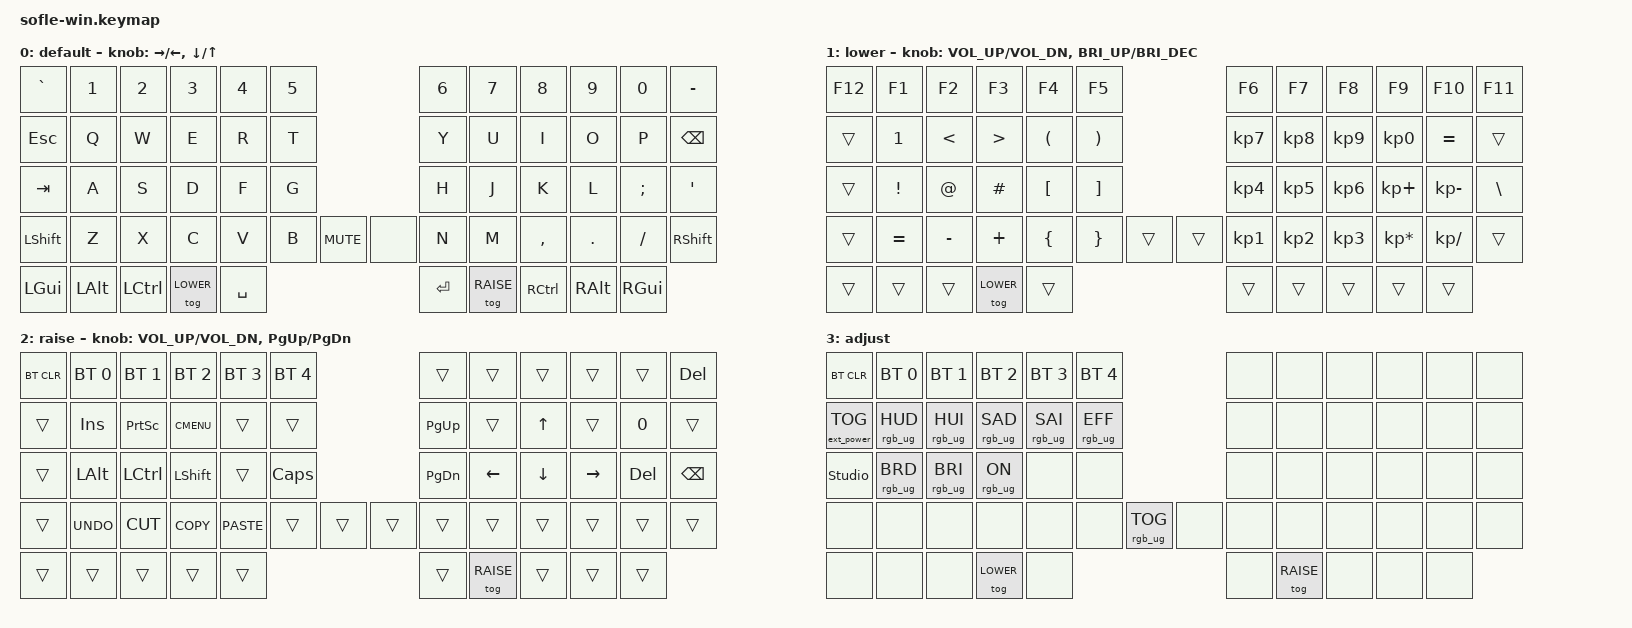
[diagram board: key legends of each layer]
/*
* Copyright (c) 2020 The ZMK Contributors
*
* SPDX-License-Identifier: MIT
*/

#include <behaviors.dtsi>
#include <dt-bindings/zmk/keys.h>
#include <dt-bindings/zmk/bt.h>
#include <dt-bindings/zmk/rgb.h>
#include <dt-bindings/zmk/ext_power.h>
#include <dt-bindings/led/led.h>

&pinctrl {
	spi3_default: spi3_default {
		group1 {
			psels = <NRF_PSEL(SPIM_MOSI, 0, 22)>; /* <<<--- different pin here */
		};
	};
	
	spi3_sleep: spi3_sleep {
		group1 {
			psels = <NRF_PSEL(SPIM_MOSI, 0, 22)>; /* <<<--- different pin here */
			low-power-enable;
		};
	};
};

&spi3 {
	compatible = "nordic,nrf-spim";
	status = "okay";
	
	pinctrl-0 = <&spi3_default>;
	pinctrl-1 = <&spi3_sleep>;
	pinctrl-names = "default", "sleep";
	
	led_strip: ws2812@0 {
		compatible = "worldsemi,ws2812-spi";
		
		/* SPI */
		reg = <0>; /* ignored, but necessary for SPI bindings */
		spi-max-frequency = <4000000>;
		
		/* WS2812 */
		chain-length = <7>; /* <<<--- different number of LEDs here */
		spi-one-frame = <0x70>;
		spi-zero-frame = <0x40>;
		
		color-mapping = <
		LED_COLOR_ID_GREEN
		LED_COLOR_ID_RED
		LED_COLOR_ID_BLUE
		>;
	};
};

// Part No. EC11N1525404
&sensors {
	triggers-per-rotation = <15>;
};

&left_encoder {
	steps = <30>;
};

&right_encoder {
	steps = <30>;
};

#define BASE 0
#define LOWER 1
#define RAISE 2
#define ADJUST 3

/ {
	chosen {
		zmk,underglow = &led_strip;
	};
	
	// Activate ADJUST layer by pressing raise and lower
	conditional_layers {
		compatible = "zmk,conditional-layers";
		adjust_layer {
			if-layers = <LOWER RAISE>;
			then-layer = <ADJUST>;
		};
	};
	
	keymap {
		compatible = "zmk,keymap";
		
		default_layer {
			display-name = "default";
			// ------------------------------------------------------------------------------------------------------------
			// |   `   |  1  |  2  |  3   |  4   |  5   |                   |  6   |  7    |  8    |  9   |   0   |   -   |
			// |  ESC  |  Q  |  W  |  E   |  R   |  T   |                   |  Y   |  U    |  I    |  O   |   P   | BKSPC |
			// |  TAB  |  A  |  S  |  D   |  F   |  G   |                   |  H   |  J    |  K    |  L   |   ;   |   '   |
			// | SHIFT |  Z  |  X  |  C   |  V   |  B   |  MUTE  |  |       |  N   |  M    |  ,    |  .   |   /   | SHIFT |
			//               | CTRL| ALT  | GUI  | LOWER|  SPACE |  | ENTER | RAISE| CTRL  | ALT   | GUI  |
			bindings = <
			&kp GRAVE &kp N1 &kp N2   &kp N3   &kp N4    &kp N5                           &kp N6 &kp N7    &kp N8    &kp N9   &kp N0   &kp MINUS
			&kp ESC   &kp Q  &kp W    &kp E    &kp R     &kp T                            &kp Y  &kp U     &kp I     &kp O    &kp P    &kp BSPC
			&kp TAB   &kp A  &kp S    &kp D    &kp F     &kp G                            &kp H  &kp J     &kp K     &kp L    &kp SEMI &kp SQT
			&kp LSHFT &kp Z  &kp X    &kp C    &kp V     &kp B      &kp C_MUTE &none      &kp N  &kp M     &kp COMMA &kp DOT  &kp FSLH &kp RSHFT
			&kp LGUI &kp LALT &kp LCTRL &tog LOWER  &kp SPACE 							  &kp RET &tog RAISE &kp RCTRL &kp RALT &kp RGUI
			>;
			
			sensor-bindings = <&inc_dec_kp RIGHT LEFT &inc_dec_kp DOWN UP>;
		};
		
		lower_layer {
			display-name = "lower";
			// TODO: Some binds are waiting for shifted keycode support.
			// ------------------------------------------------------------------------------------------------------------
			// |       |  F1 |  F2 |  F3  |  F4  |  F5  |                   |  F6  |  F7   |  F8   |  F9  |  F10  |  F11  |
			// |   `   |  1  |  2  |  3   |  4   |  5   |                   |  6   |  7    |  8    |  9   |   0   |  F12  |
			// |       |  !  |  @  |  #   |  $   |  %   |                   |  ^   |  &    |  *    |  (   |   )   |   |   |
			// |       |  =  |  -  |  +   |  {   |  }   |        |  |       |  [   |  ]    |  ;    |  :   |   \   |       |
			//               |     |      |      |      |        |  |       |      |       |       |      |
			bindings = <
			&kp F12   &kp F1    &kp F2    &kp F3      &kp F4    &kp F5                    &kp F6    &kp F7    &kp F8    &kp F9    		&kp F10   		&kp F11
			&trans    &kp N1    &kp LT    &kp GT      &kp LPAR  &kp RPAR                  &kp KP_N7 &kp KP_N8 &kp KP_N9 &kp KP_N0 		&kp EQUAL   	&trans
			&trans    &kp EXCL  &kp AT    &kp HASH    &kp LBKT  &kp RBKT                  &kp KP_N4 &kp KP_N5 &kp KP_N6 &kp KP_PLUS 	&kp KP_MINUS	&kp BSLH
			&trans    &kp EQUAL &kp MINUS &kp PLUS 	  &kp LBRC  &kp RBRC   &trans &trans  &kp KP_N1 &kp KP_N2 &kp KP_N3 &kp KP_MULTIPLY &kp KP_DIVIDE  	&trans
			&trans    &trans    &trans    &tog LOWER  &trans 	&trans     &trans &trans  &trans    &trans
			>;
			
			sensor-bindings = <&inc_dec_kp C_VOL_UP C_VOL_DN &inc_dec_kp C_BRI_UP C_BRI_DEC>;
		};
		
		raise_layer {
			display-name = "raise";
			// ------------------------------------------------------------------------------------------------------------
			// | BTCLR | BT1  | BT2  |  BT3  |  BT4  |  BT5 |                |      |      |       |      |       |  DEL  |
			// |       | INS  | PSCR | GUI   |       |      |                | PGUP |      |   ^   |      |       |       |
			// |       | ALT  | CTRL | SHIFT |       | CAPS |                | PGDN |   <- |   v   |  ->  |  DEL  | BKSPC |
			// |       | UNDO | CUT  | COPY  | PASTE |      |      |  |      |      |      |       |      |       |       |
			//                |      |       |       |      |      |  |      |      |      |       |      |
			bindings = <
			&bt BT_CLR &bt BT_SEL 0 &bt BT_SEL 1 &bt BT_SEL 2 &bt BT_SEL 3 &bt BT_SEL 4                  &trans    &trans    &trans   &trans    &trans  &kp DEL
			&trans     &kp INS      &kp PSCRN    &kp K_CMENU  &trans       &trans                        &kp PG_UP &trans    &kp UP   &trans    &kp N0  &trans
			&trans     &kp LALT     &kp LCTRL    &kp LSHFT    &trans       &kp CLCK                      &kp PG_DN &kp LEFT  &kp DOWN &kp RIGHT &kp DEL &kp BSPC
			&trans     &kp K_UNDO   &kp K_CUT    &kp K_COPY   &kp K_PASTE  &trans        &trans  &trans  &trans    &trans    &trans   &trans    &trans  &trans
			&trans       &trans       &trans       &trans        &trans  &trans  &tog RAISE    &trans    &trans   &trans
			>;
			
			sensor-bindings = <&inc_dec_kp C_VOL_UP C_VOL_DN &inc_dec_kp PG_UP PG_DN>;
		};
		
		adjust_layer {
			// ----------------------------------------------------------------------------------------------------------------------------
			// | BTCLR  |  BT1    |  BT2    |   BT3   |   BT4   |   BT5   |                  |      |      |       |      |       |       |
			// | EXTPWR | RGB_HUD | RGB_HUI | RGB_SAD | RGB_SAI | RGB_EFF |                  |      |      |       |      |       |       |
			// |        | RGB_BRD | RGB_BRI |         |         | RGB_ON  |                  |      |      |       |      |       |       |
			// |        |         |         |         |         |         | RGB_TOG | |      |      |      |       |      |       |       |
			//                    |         |         |         |         |         | |      |      |      |       |      |
			display-name = "adjust";
			bindings = <
			&bt BT_CLR        &bt BT_SEL 0    &bt BT_SEL 1    &bt BT_SEL 2    &bt BT_SEL 3    &bt BT_SEL 4     &none 			&none &none &none &none &none
			&ext_power EP_TOG &rgb_ug RGB_HUD &rgb_ug RGB_HUI &rgb_ug RGB_SAD &rgb_ug RGB_SAI &rgb_ug RGB_EFF  &none 			&none &none &none &none &none
			&studio_unlock    &rgb_ug RGB_BRD &rgb_ug RGB_BRI &rgb_ug RGB_ON  &none           &none            &none 			&none &none &none &none &none
			&none             &none           &none           &none           &none           &none            &rgb_ug RGB_TOG 	&none &none &none &none &none &none &none
			&none             &none           &none           &tog LOWER      &none           &none  &tog RAISE &none 			&none &none
			>;
		};
	};
};
